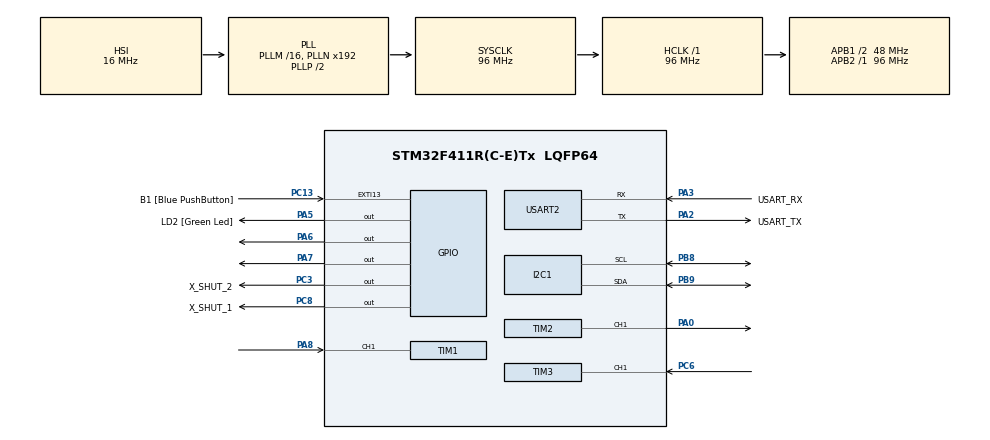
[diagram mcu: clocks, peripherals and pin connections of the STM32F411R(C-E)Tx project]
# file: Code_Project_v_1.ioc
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I2C1.I2C_Mode=I2C_Standard
Mcu.Family=STM32F4
Mcu.Name=STM32F411R(C-E)Tx
Mcu.Package=LQFP64
NVIC.PriorityGroup=NVIC_PRIORITYGROUP_0
NVIC.TIM1_BRK_TIM9_IRQn=true\:0\:0\:false\:false\:true\:true\:true\:true
NVIC.TIM1_CC_IRQn=true\:0\:0\:false\:false\:true\:true\:true\:true
NVIC.TIM1_TRG_COM_TIM11_IRQn=true\:0\:0\:false\:false\:true\:true\:true\:true
NVIC.TIM1_UP_TIM10_IRQn=true\:0\:0\:false\:false\:true\:true\:true\:true
PA0-WKUP.Signal=S_TIM2_CH1_ETR
PA13.GPIO_Label=TMS
PA13.Mode=Serial_Wire
PA13.Signal=SYS_JTMS-SWDIO
PA14.GPIO_Label=TCK
PA14.Mode=Serial_Wire
PA14.Signal=SYS_JTCK-SWCLK
PA2.GPIO_Label=USART_TX
PA2.Mode=Asynchronous
PA2.Signal=USART2_TX
PA3.GPIO_Label=USART_RX
PA3.Mode=Asynchronous
PA3.Signal=USART2_RX
PA5.GPIO_Label=LD2 [Green Led]
PA5.Signal=GPIO_Output
PA6.Signal=GPIO_Output
PA7.Signal=GPIO_Output
PA8.Signal=S_TIM1_CH1
PB3.GPIO_Label=SWO
PB3.Signal=SYS_JTDO-SWO
PB8.GPIO_Pu=GPIO_PULLUP
PB8.Mode=I2C
PB8.Signal=I2C1_SCL
PB9.GPIO_Pu=GPIO_PULLUP
PB9.Mode=I2C
PB9.Signal=I2C1_SDA
PC13-ANTI_TAMP.GPIO_Label=B1 [Blue PushButton]
PC13-ANTI_TAMP.GPIO_ModeDefaultEXTI=GPIO_MODE_IT_FALLING
PC13-ANTI_TAMP.Signal=GPXTI13
PC14-OSC32_IN.Mode=LSE-External-Oscillator
PC14-OSC32_IN.Signal=RCC_OSC32_IN
PC15-OSC32_OUT.Mode=LSE-External-Oscillator
PC15-OSC32_OUT.Signal=RCC_OSC32_OUT
PC3.GPIO_Label=X_SHUT_2
PC3.Signal=GPIO_Output
PC6.Signal=S_TIM3_CH1
PC8.GPIO_Label=X_SHUT_1
PC8.Signal=GPIO_Output
PH0\ -\ OSC_IN.Mode=HSE-External-Oscillator
PH0\ -\ OSC_IN.Signal=RCC_OSC_IN
PH1\ -\ OSC_OUT.Mode=HSE-External-Oscillator
PH1\ -\ OSC_OUT.Signal=RCC_OSC_OUT
ProjectManager.HeapSize=0x200
ProjectManager.StackSize=0x400
ProjectManager.TargetToolchain=STM32CubeIDE
RCC.AHBFreq_Value=96000000
RCC.APB1CLKDivider=RCC_HCLK_DIV2
RCC.APB1Freq_Value=48000000
RCC.APB1TimFreq_Value=96000000
RCC.APB2Freq_Value=96000000
RCC.APB2TimFreq_Value=96000000
RCC.CortexFreq_Value=96000000
RCC.HCLKFreq_Value=96000000
RCC.HSE_VALUE=25000000
RCC.HSI_VALUE=16000000
RCC.SYSCLKFreq_VALUE=96000000
RCC.SYSCLKSource=RCC_SYSCLKSOURCE_PLLCLK
RCC.VCOOutputFreq_Value=192000000
SH.S_TIM1_CH1.0=TIM1_CH1,Input_Capture1_from_TI1
SH.S_TIM2_CH1_ETR.0=TIM2_CH1,PWM Generation1 CH1
SH.S_TIM3_CH1.0=TIM3_CH1,Input_Capture1_from_TI1
TIM1.Channel-Input_Capture1_from_TI1=TIM_CHANNEL_1
TIM1.Period=48000
TIM1.Prescaler=2000
TIM2.Channel-PWM\ Generation1\ CH1=TIM_CHANNEL_1
TIM2.Period=4199
TIM2.Prescaler=1
TIM2.Pulse-PWM\ Generation1\ CH1=250
TIM3.Channel-Input_Capture1_from_TI1=TIM_CHANNEL_1
TIM3.Period=9999
TIM3.Prescaler=839
USART2.VirtualMode=VM_ASYNC
VP_TIM1_VS_ClockSourceINT.Mode=Internal
VP_TIM2_VS_ClockSourceINT.Mode=Internal
VP_TIM3_VS_ClockSourceINT.Mode=Internal
board=NUCLEO-F411RE

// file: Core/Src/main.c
/* USER CODE BEGIN Header */
/**
  ******************************************************************************
  * @file           : main.c
  * @brief          : Main program body
  ******************************************************************************
  * @attention
  *
  * Copyright (c) 2022 STMicroelectronics.
  * All rights reserved.
  *
  * This software is licensed under terms that can be found in the LICENSE file
  * in the root directory of this software component.
  * If no LICENSE file comes with this software, it is provided AS-IS.
  *
  ******************************************************************************
  */
/* USER CODE END Header */
#include "main.h"
#include "i2c.h"
#include "tim.h"
#include "usart.h"
#include "gpio.h"

/* USER CODE BEGIN Includes */
#include <sensors.h>
#include "MovingAverageFilter.h"
#include <control.h>
/* USER CODE END Includes */

/* USER CODE BEGIN PD */
#define T_S 1

/* USER CODE END PD */

/* USER CODE BEGIN PV */
float DC;
float* ptr_DC = &DC;

float t;
float* ptr_t = &t;

Pump_t Pump1;
Tank_Param_t Tank1;
Tank_Param_t Tank2;
PID_Param_t PID1;
LQI_Param_t LQI1;

volatile Pump_t* Pump1_ptr = &Pump1;
volatile Tank_Param_t* Tank1_ptr = &Tank1;
volatile Tank_Param_t* Tank2_ptr = &Tank2;
volatile PID_Param_t* PID1_ptr = &PID1;
volatile LQI_Param_t* LQI1_ptr = &LQI1;

/* Filter Handler */
MovingAverageFilter filter1;
MovingAverageFilter filter2;

/* USER CODE END PV */

void SystemClock_Config(void);

/* USER CODE BEGIN 0 */
int _write(int file, char *ptr, int len)
{
    for (int DataIdx = 0; DataIdx < len; DataIdx++)
        ITM_SendChar(*ptr++);

    return len;
}

/* USER CODE END 0 */

int main(void)
{
  /* USER CODE BEGIN 1 */

	struct sensors array_sensor; /* definition sensor struct */
	uint32_t data1,data2; /*data from sensors*/

	//struct sensors array_sensor;
	array_sensor.Dev_array[0] = &array_sensor.vl53l0x_c[0];
	array_sensor.Dev_array[1] = &array_sensor.vl53l0x_c[1];
	float level1;
	float level2;

  /* USER CODE END 1 */

  /* MCU Configuration--------------------------------------------------------*/

  /* Reset of all peripherals, Initializes the Flash interface and the Systick. */
  HAL_Init();

  /* Configure the system clock */
  SystemClock_Config();

  /* Initialize all configured peripherals */
  MX_GPIO_Init();
  MX_USART2_UART_Init();
  MX_I2C1_Init();
  MX_TIM2_Init();
  MX_TIM1_Init();
  MX_TIM3_Init();
  /* USER CODE BEGIN 2 */

  Pump_Init(&Pump1);
  Tank1_Init(&Tank1);
  Tank2_Init(&Tank2);
  PID_Init(&PID1);
  LQI_Init(&LQI1);

  /*Sensors Initialization*/
  array_sensor.Dev_array[0]->I2cHandle = &hi2c1;
  array_sensor.Dev_array[1]->I2cHandle = &hi2c1;
  array_sensor.Dev_array[0]->I2cDevAddr =  array_sensor.Dev_array[1]->I2cDevAddr = original_addr;
  printf("Sensor Init:\n\r");
  Sensor_Init(array_sensor,HIGH_ACCURACY); // function from sensors.h
  MovingAverageFilter_Init(&filter1, 2);
  MovingAverageFilter_Init(&filter2, 2);
  /* For PWM */
  HAL_GPIO_WritePin(GPIOA, GPIO_PIN_6, GPIO_PIN_SET); /* PA6 filo nero*/
  HAL_GPIO_WritePin(GPIOA, GPIO_PIN_7, GPIO_PIN_RESET); /* PA7 filo arancione*/

  // Start timer 1
  HAL_TIM_Base_Start_IT(&htim1);

  /* USER CODE END 2 */

  /* Infinite loop */
  while (1)
  {
    /* USER CODE BEGIN 3 */
	HAL_TIM_PWM_Start(&htim2, TIM_CHANNEL_1);

	Tank2.level_target = 10;

	/*get data from sensors -- distance from sensors to liquid*/
	Get_Data_Sensors(array_sensor,&data1,&data2);

	/*get tanks liquid level -- difference from height of sensor and data sensors*/
	MapLevel(&data1,&data2,Tank1_ptr,Tank2_ptr,&level1,&level2);

	/*moving average filter for data get from sensors*/
	Tank1.level_current = MovingAverageFilter_Update(&filter1, level1);
	Tank2.level_current = MovingAverageFilter_Update(&filter2, level2);

  }
  /* USER CODE END 3 */
}

void SystemClock_Config(void)
{
  RCC_OscInitTypeDef RCC_OscInitStruct = {0};
  RCC_ClkInitTypeDef RCC_ClkInitStruct = {0};

  /** Configure the main internal regulator output voltage
  */
  __HAL_RCC_PWR_CLK_ENABLE();
  __HAL_PWR_VOLTAGESCALING_CONFIG(PWR_REGULATOR_VOLTAGE_SCALE1);

  /** Initializes the RCC Oscillators according to the specified parameters
  * in the RCC_OscInitTypeDef structure.
  */
  RCC_OscInitStruct.OscillatorType = RCC_OSCILLATORTYPE_HSI;
  RCC_OscInitStruct.HSIState = RCC_HSI_ON;
  RCC_OscInitStruct.HSICalibrationValue = RCC_HSICALIBRATION_DEFAULT;
  RCC_OscInitStruct.PLL.PLLState = RCC_PLL_ON;
  RCC_OscInitStruct.PLL.PLLSource = RCC_PLLSOURCE_HSI;
  RCC_OscInitStruct.PLL.PLLM = 16;
  RCC_OscInitStruct.PLL.PLLN = 192;
  RCC_OscInitStruct.PLL.PLLP = RCC_PLLP_DIV2;
  RCC_OscInitStruct.PLL.PLLQ = 4;
  if (HAL_RCC_OscConfig(&RCC_OscInitStruct) != HAL_OK)
  {
    Error_Handler();
  }

  /** Initializes the CPU, AHB and APB buses clocks
  */
  RCC_ClkInitStruct.ClockType = RCC_CLOCKTYPE_HCLK|RCC_CLOCKTYPE_SYSCLK
                              |RCC_CLOCKTYPE_PCLK1|RCC_CLOCKTYPE_PCLK2;
  RCC_ClkInitStruct.SYSCLKSource = RCC_SYSCLKSOURCE_PLLCLK;
  RCC_ClkInitStruct.AHBCLKDivider = RCC_SYSCLK_DIV1;
  RCC_ClkInitStruct.APB1CLKDivider = RCC_HCLK_DIV2;
  RCC_ClkInitStruct.APB2CLKDivider = RCC_HCLK_DIV1;

  if (HAL_RCC_ClockConfig(&RCC_ClkInitStruct, FLASH_LATENCY_3) != HAL_OK)
  {
    Error_Handler();
  }
}

/* USER CODE BEGIN 4 */

void HAL_TIM_PeriodElapsedCallback(TIM_HandleTypeDef *htim)
{
	if(htim->Instance == TIM1)
	{
		__disable_irq();
		HAL_GPIO_TogglePin(LD2_GPIO_Port,LD2_Pin);

		*ptr_DC = PID_Control(PID1_ptr, Tank2_ptr);
		//*ptr_DC = LQI_Control(LQI1_ptr,Tank1_ptr, Tank2_ptr);
		actuation_pump(Pump1_ptr,*ptr_DC);

		printf("%.2f,L1:%.3f,L2:%.3f,DC:%.3f\n",*(ptr_t),Tank1.level_current, Tank2.level_current,*(ptr_DC));

		*ptr_t = *ptr_t + T_S;
		__enable_irq();
	}

}
/* USER CODE END 4 */

void Error_Handler(void)
{
  __disable_irq();
  while (1)
  {
  }
}
